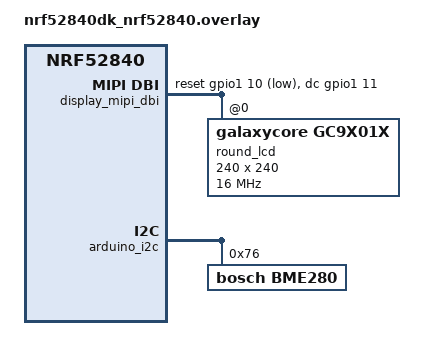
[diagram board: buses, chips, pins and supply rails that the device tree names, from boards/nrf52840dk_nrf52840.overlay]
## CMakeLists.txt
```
cmake_minimum_required(VERSION 3.20.0)
find_package(Zephyr REQUIRED HINTS $ENV{ZEPHYR_BASE})

project(lvgl_test)

add_subdirectory(src/gui)
add_subdirectory(src/env_sensor)

target_sources(app PRIVATE
    src/sensor_msgq.c
    src/main.c
)
```

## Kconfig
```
mainmenu "LVGL Application"

source "Kconfig.zephyr"

menu "Application Logging"

module = LVGL_APP
module-str = LVGL Application
source "subsys/logging/Kconfig.template.log_config"

endmenu
```

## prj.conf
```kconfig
CONFIG_MAIN_STACK_SIZE=4096
CONFIG_CBPRINTF_FP_SUPPORT=y // STRING OPS WITH FLOATING POINT VALUES
CONFIG_SENSOR=y
CONFIG_SENSOR_ASYNC_API=y

# Display
CONFIG_DISPLAY=y

# LVGL
CONFIG_LVGL=y
CONFIG_LV_Z_MEM_POOL_SIZE=8192
CONFIG_LV_MEM_CUSTOM=y
CONFIG_LV_Z_BITS_PER_PIXEL=16
CONFIG_LV_COLOR_16_SWAP=y

CONFIG_LV_CONF_MINIMAL=y

CONFIG_LV_TXT_ENC_UTF8=y
CONFIG_LV_FONT_MONTSERRAT_16=y
CONFIG_LV_FONT_MONTSERRAT_24=y
CONFIG_LV_FONT_MONTSERRAT_48=y

CONFIG_LV_USE_FLEX=y
CONFIG_LV_USE_IMG=y
CONFIG_LV_USE_LABEL=y
CONFIG_LV_USE_ARC=y
CONFIG_LV_USE_BAR=y
```

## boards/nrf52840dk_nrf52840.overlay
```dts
#include <zephyr/dt-bindings/display/panel.h>

/ {
	chosen {
		zephyr,display = &round_lcd;
	};

	display_mipi_dbi {
		status = "okay";
		compatible = "zephyr,mipi-dbi-spi";
		spi-dev = <&spi3>;
		dc-gpios = <&gpio1 11 GPIO_ACTIVE_HIGH>;
		reset-gpios = <&gpio1 10 GPIO_ACTIVE_LOW>;
		write-only;
		#address-cells = <1>;
		#size-cells = <0>;

		round_lcd: gc9a01@0 {
			status = "okay";
			compatible = "galaxycore,gc9x01x";
			reg = <0>;
			mipi-max-frequency = <DT_FREQ_M(16)>;
			pixel-format = <PANEL_PIXEL_FORMAT_RGB_565>;
			width = <240>;
			height = <240>;
			display-inversion;
		};
	};
};

&arduino_spi {
	max-frequency = <DT_FREQ_M(16)>;
};

&arduino_i2c {
	status = "okay";
	bme280@76 {
		compatible = "bosch,bme280";
		reg = <0x76>;
		status = "okay";
	};
};
```

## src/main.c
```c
#include "sensor_msgq.h"
#include "env_sensor/env_sensor.h"
#include "gui/gui_app.h"

#include <zephyr/kernel.h>
#include <zephyr/drivers/gpio.h>
#include <zephyr/logging/log.h>

LOG_MODULE_REGISTER(lvgl_app, CONFIG_LVGL_APP_LOG_LEVEL);

#define SW0_NODE DT_ALIAS(sw0)
#if !DT_NODE_HAS_STATUS_OKAY(SW0_NODE)
#error "Unsupported board: sw0 devicetree alias is not defined"
#endif

static const struct gpio_dt_spec btn1 = GPIO_DT_SPEC_GET_OR(SW0_NODE, gpios, {0});
static struct gpio_callback btn1_cb_data;

static void button_pressed(const struct device *dev, struct gpio_callback *cb, uint32_t pins)
{
    if (cb == &btn1_cb_data) {
        gui_app_trigger_btn1();
    } else {
        LOG_WRN("Button pressed that doesn't own a callback.");
    }
}

static int setup_input()
{
    if (!gpio_is_ready_dt(&btn1)) {
		LOG_WRN("Error: button device %s is not ready", btn1.port->name);
		return -ENODEV;
	}

	int rc = gpio_pin_configure_dt(&btn1, GPIO_INPUT);
	if (rc != 0) {
		LOG_WRN("Error %d: failed to configure %s pin %d",
            rc,
            btn1.port->name,
            btn1.pin
        );
		return rc;
	}

	rc = gpio_pin_interrupt_configure_dt(&btn1, GPIO_INT_EDGE_TO_ACTIVE);
	if (rc != 0) {
		LOG_WRN("Error %d: failed to configure interrupt on %s pin %d",
            rc,
            btn1.port->name,
            btn1.pin
        );
		return rc;
	}

	gpio_init_callback(&btn1_cb_data, button_pressed, BIT(btn1.pin));
	gpio_add_callback(btn1.port, &btn1_cb_data);
	LOG_INF("Set up devkit Button 1.");

    return 0;
}

int main(void)
{
    int rc = env_sensor_init();

    rc = gui_app_start();

    rc = setup_input();
    if (rc != 0) {
        LOG_ERR("Failed to configure input.");
        return -1;
    }

    for (;;) {
        rc =  env_sensor_fetch();
        k_msleep(1000);
    }
    
    LOG_WRN("Main thread is terminating");
	return 0;
}
```

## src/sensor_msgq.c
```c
#include "sensor_msgq.h"
#include <zephyr/kernel.h>

K_MSGQ_DEFINE(sensor_msgq, sizeof(struct gui_msg), SENSOR_MSGQ_DEPTH, 4);

int gui_app_trigger_btn1(void)
{
    const struct gui_msg msg = {.type = GUI_MSG_BTN_1,};
    return k_msgq_put(&sensor_msgq, &msg, K_NO_WAIT);
}

int gui_app_set_relative_humidity(double relative_humidity)
{
    const struct gui_msg msg = {
        .type = GUI_MSG_SET_RELATIVE_HUMIDITY,
        .data.meas = relative_humidity,
    };

    return k_msgq_put(&sensor_msgq, &msg, K_NO_WAIT);
}

int gui_app_set_temperature(double temperature)
{
    const struct gui_msg msg = {
        .type = GUI_MSG_SET_TEMPERATURE,
        .data.meas = temperature,
    };

    return k_msgq_put(&sensor_msgq, &msg, K_NO_WAIT);
}

int gui_app_set_pressure(double pressure)
{
    const struct gui_msg msg = {
        .type = GUI_MSG_SET_PRESSURE,
        .data.meas = pressure,
    };

    return k_msgq_put(&sensor_msgq, &msg, K_NO_WAIT);
}
```

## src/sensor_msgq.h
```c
#ifndef SENSOR_MSGQ_H
#define SENSOR_MSGQ_H

#define SENSOR_MSGQ_DEPTH 8

enum gui_msg_type {
    GUI_MSG_SET_RELATIVE_HUMIDITY,
    GUI_MSG_SET_TEMPERATURE,
    GUI_MSG_SET_PRESSURE,
    GUI_MSG_LOAD_UTILITY,
    GUI_MSG_BTN_1,
};

struct gui_msg {
    enum gui_msg_type type;

    union {
        double meas;
        int utility_id;
    } data;
};

extern struct k_msgq sensor_msgq;
int gui_app_trigger_btn1(void);
int gui_app_set_relative_humidity(double relative_humidity);
int gui_app_set_temperature(double temperature);
int gui_app_set_pressure(double pressure);

#endif
```
